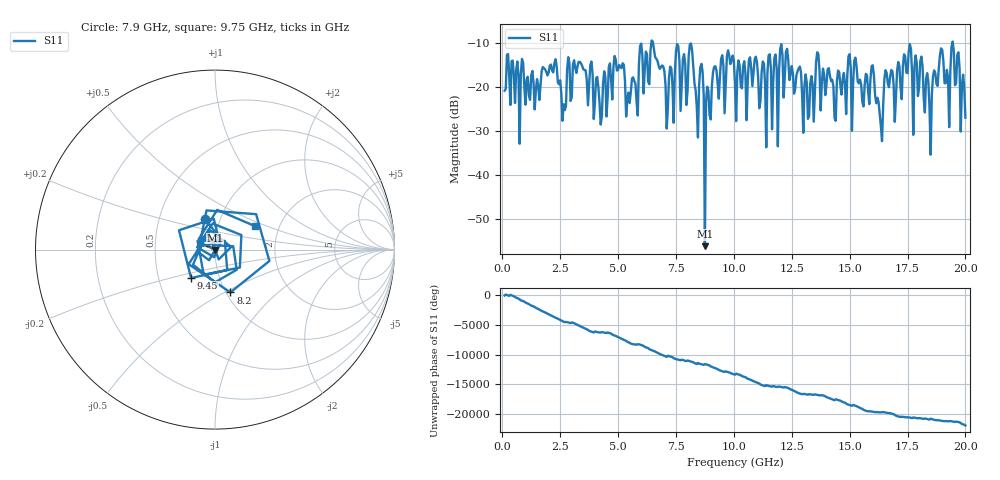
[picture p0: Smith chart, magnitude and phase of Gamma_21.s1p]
#  HZ  S  RI  R  1.00
! Rohde & Schwarz ZVA67 4Ports - Version 4.11 - 1305.7002k04 SN: 101032
! Date: 2023-06-01 16:38:51
! Measurement: a2d1/b2d1sam
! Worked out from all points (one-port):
!   399 points, 100 MHz to 20 GHz, reference 1 ohm
!   lowest |S11| = -56.2 dB at 8.75 GHz (marker M1), VSWR 1.00, Z = 1 - j0.00309 ohm
!   |S11| at or under -10 dB: start of sweep to 6.439 GHz; 6.507 GHz to 19.44 GHz (12.93 GHz wide, 99.7 % of centre); 19.46 GHz to end of sweep
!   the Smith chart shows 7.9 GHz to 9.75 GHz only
!   S11 on the Smith chart (normalised r, x): 7.9 GHz: 0.84, +0.30; 8.2 GHz: 1.05, -0.53; 9.45 GHz: 0.73, -0.24; 9.75 GHz: 1.51, +0.42
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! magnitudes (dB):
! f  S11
! 100 MHz  -20.9
! 2.6 GHz  -27.7
! 5.1 GHz  -15.5
! 7.1 GHz  -29.5
! 7.6 GHz  -10.8
! 7.9 GHz  -14.8
! 8.2 GHz  -11.9
! 8.45 GHz  -31.5
! 8.65 GHz  -16.6
! 8.75 GHz  -56.2
! 8.85 GHz  -20.0
! 9.45 GHz  -13.7
! 9.75 GHz  -11.7
! 10.05 GHz  -19.5
! 11.8 GHz  -12.7
! 11.9 GHz  -33.5
! 12 GHz  -11.4
! 12.55 GHz  -17.0
! 15.05 GHz  -15.8
! 16.4 GHz  -32.4
! 17.55 GHz  -12.1
! 17.75 GHz  -30.9
! 18.1 GHz  -13.2
! 18.5 GHz  -35.4
! 18.95 GHz  -11.3
! 19.3 GHz  -29.2
! 19.45 GHz  -9.7
! 20 GHz  -27.0
